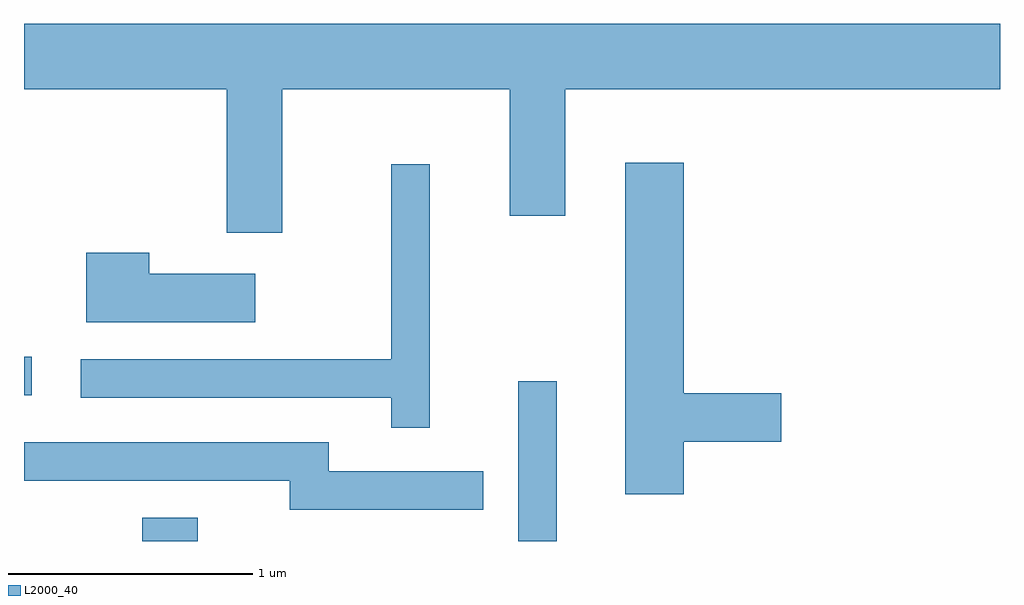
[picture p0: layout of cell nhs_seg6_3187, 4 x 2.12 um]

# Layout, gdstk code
import gdstk
lib = gdstk.Library(unit=1e-6, precision=1e-09)
def R(c, l, rs):  # rectangles x0, y0, x1, y1
    for r in rs: c.add(gdstk.rectangle(r[:2], r[2:], *l))
def P(c, l, *ps):  # polygons
    for p in ps: c.add(gdstk.Polygon(p, *l))
L2000_40 = (2000, 40)

nhs_seg6_3187 = lib.new_cell('nhs_seg6_3187')
R(nhs_seg6_3187, L2000_40, [(282.096,1568.162,282.324,1568.259), (283.636,1568.162,283.794,1568.818), (281.611,1568.761,281.643,1568.919)])
P(nhs_seg6_3187, L2000_40, [(282.669,1570.016),(283.601,1570.016),(283.601,1569.496),(283.829,1569.496),(283.829,1570.016),(285.611,1570.016),(285.611,1570.284),(281.611,1570.284),(281.611,1570.016),(282.441,1570.016),(282.441,1569.426),(282.669,1569.426)],
  [(284.314,1568.571),(284.714,1568.571),(284.714,1568.769),(284.314,1568.769),(284.314,1569.714),(284.076,1569.714),(284.076,1568.356),(284.314,1568.356)],
  [(283.274,1569.708),(283.116,1569.708),(283.116,1568.909),(281.843,1568.909),(281.843,1568.751),(283.116,1568.751),(283.116,1568.628),(283.274,1568.628)],
  [(282.559,1569.259),(282.124,1569.259),(282.124,1569.344),(281.866,1569.344),(281.866,1569.061),(282.559,1569.061)],
  [(283.493,1568.449),(282.859,1568.449),(282.859,1568.569),(281.611,1568.569),(281.611,1568.411),(282.701,1568.411),(282.701,1568.291),(283.493,1568.291)])

lib.write_gds('nhs_seg6_3187.gds')
